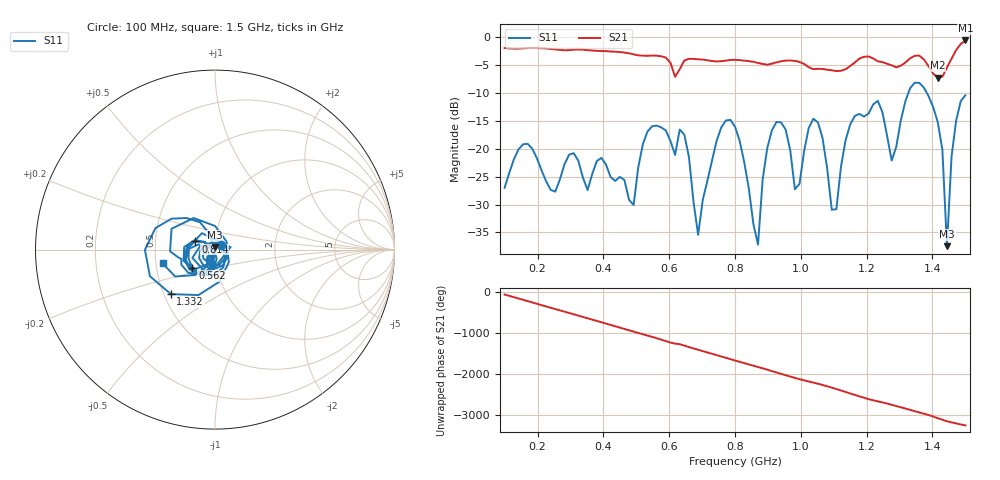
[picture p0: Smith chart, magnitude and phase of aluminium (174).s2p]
! NanoVNA-App
! Date: 2025-09-25 14:56:38
! Start: 100MHz Stop: 1,5GHz Points: 101
! S-Parameter data: F S11 S21 S12 S22
# Hz S RI R 50
!  Frequency  S11_Real  S11_Imag  S21_Real  S21_Imag  S12_Real  S12_Imag  S22_Real  S22_Imag
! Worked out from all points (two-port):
!   101 points, 100 MHz to 1.5 GHz, reference 50 ohm
!   highest |S21| = -0.56 dB at 1.5 GHz (marker M1); lowest = -7.2 dB at 1.416 GHz (marker M2)
!   |S21| within 3 dB of the highest: start of sweep to 585.5 MHz; 1.46 GHz to end of sweep (the widest 2 of 4)
!   lowest |S11| = -37.5 dB at 1.444 GHz (marker M3), VSWR 1.03, Z = 49.7 + j1.3 ohm
!   |S11| at or under -10 dB: start of sweep to 1.327 GHz; 1.383 GHz to end of sweep
!   S12 and S22 are empty: the file has one direction only
!   S11 on the Smith chart (normalised r, x): 100 MHz: 1.07, +0.06; 562 MHz: 0.76, -0.16; 814 MHz: 0.80, +0.07; 1.332 GHz: 0.54, -0.31; 1.5 GHz: 0.54, -0.09
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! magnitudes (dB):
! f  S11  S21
! 100 MHz  -27.0  -1.9
! 338 MHz  -25.2  -2.2
! 492 MHz  -30.1  -3.1
! 562 MHz  -15.8  -3.3
! 576 MHz  -16.2  -3.4
! 646 MHz  -17.5  -4.2
! 688 MHz  -35.5  -4.0
! 800 MHz  -16.0  -4.0
! 814 MHz  -18.5  -4.1
! 870 MHz  -37.2  -4.6
! 912 MHz  -16.7  -4.7
! 982 MHz  -27.3  -4.2
! 1.038 GHz  -14.6  -5.7
! 1.094 GHz  -30.9  -5.9
! 1.164 GHz  -14.1  -4.5
! 1.234 GHz  -11.4  -4.3
! 1.276 GHz  -22.1  -5.0
! 1.332 GHz  -9.1  -3.8
! 1.416 GHz  -15.2  -7.2
! 1.444 GHz  -37.5  -5.4
! 1.458 GHz  -21.4  -3.8
! 1.5 GHz  -10.4  -0.6
